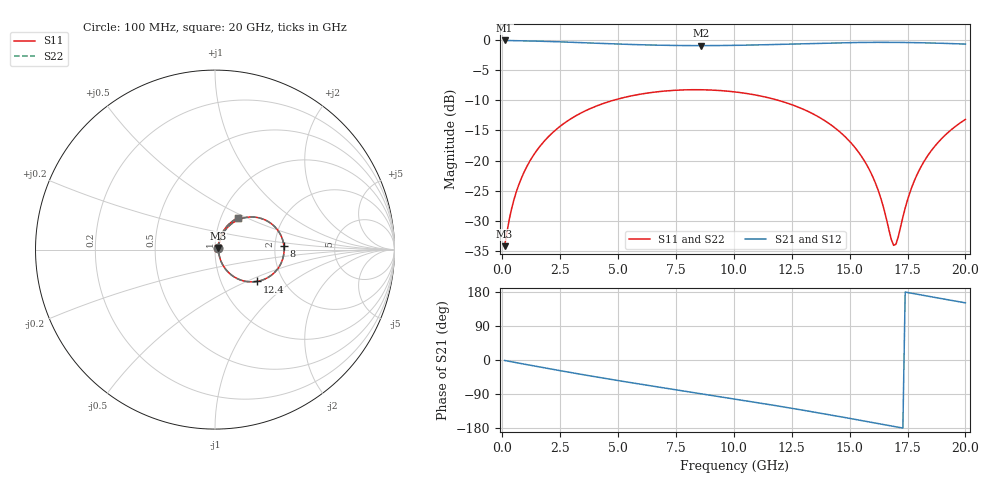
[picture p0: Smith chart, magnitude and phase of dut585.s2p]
! Touchstone file exported from HFSS 2026.1.0
!  File:  C:/ffzhzh/LocalFiles/Ansys_Project_Files/temp_train_TSV_RDL_585_1783119457_50312.aedt
!  Generated:  07:06:52 AM Jul  4, 2026
!  Design:  TSV_RDL
!  Project:  temp_train_TSV_RDL_585_1783119457_50312
! Variables:
!  h_bsmrdl = 4.17um
!  h_ox = 20um
!  h_rdl = 5um
!  h_sub = 74.42um
!  h_tmrdl = 3.69um
!  h_tsv = 74.42um
!  h_via = 3um
!  l_bsmrdl = 792.36um
!  l_sub = 3393.47um
!  l_tmrdl = 131.74um
!  m_sub = 200um
!  pitch = 32.39um
!  r_tsv = 9.26um
!  s_tmrdl = 10um
!  w_bsmrdl = 16.69um
!  w_sub = 500um
!  w_tmrdl = 13.12um
!  x_tsv_center1 = 138.3um
!  x_tsv_center2 = 947.35um
!  x_tsv_center3 = 1092.21um
!  x_tsv_center4 = 1901.26um
!  x_tsv_center5 = 2046.12um
!  x_tsv_center6 = 2855.17um
# GHz S MA R 50.000000
! Terminal data exported
! Port[1] = TM_RDL1_1_T1
! Port[2] = TM_RDL5_1_T1
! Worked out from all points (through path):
!   200 points, 100 MHz to 20 GHz, reference 50 ohm
!   highest |S21| = -0.15 dB at 100 MHz (marker M1); lowest = -1.0 dB at 8.6 GHz (marker M2)
!   group delay of S21, straight-line fit = 28.4 ps
!   lowest |S11| = -34.1 dB at 100 MHz (marker M3), VSWR 1.04, Z = 51.8 + j0.919 ohm
!   |S11| at or under -10 dB: start of sweep to 4.834 GHz; 11.88 GHz to end of sweep
!   |S22| runs from -34.1 to -8.3 dB; largest |S21 - S12| = 1.7e-14
!   S11 on the Smith chart (normalised r, x): 100 MHz: 1.04, +0.02; 8 GHz: 2.24, +0.12; 12.4 GHz: 1.48, -0.57; 20 GHz: 1.21, +0.45
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0.1  0.01962 26.9  0.9826 -1.2  0.9826 -1.2  0.01962 26.9
! Gamma 0 0 0 0
! Port Impedance 50 0 50 0
0.5  0.04725 59.2  0.9791 -5.9  0.9791 -5.9  0.04725 59.2
1.2  0.0997 63.5  0.9731 -13.8  0.9731 -13.8  0.0997 63.5
2.2  0.1719 57.2  0.9614 -24.9  0.9614 -24.9  0.1719 57.2
3.5  0.2528 45.3  0.9413 -38.9  0.9413 -38.9  0.2528 45.3
5.1  0.3264 30.1  0.9165 -55.3  0.9165 -55.3  0.3264 30.1
6.8  0.3719 14.3  0.8976 -71.9  0.8976 -71.9  0.3719 14.3
8  0.3844 3.3  0.8914 -83.4  0.8914 -83.4  0.3844 3.3
8.6  0.3847 -2.1  0.8907 -89.1  0.8907 -89.1  0.3847 -2.1
10.1  0.3681 -15.8  0.8956 -103.5  0.8956 -103.5  0.3681 -15.8
12.4  0.2942 -37.0  0.917 -126.4  0.917 -126.4  0.2942 -37.1
13.4  0.2441 -46.3  0.9283 -136.8  0.9283 -136.8  0.244 -46.3
14.6  0.1711 -56.8  0.9401 -149.7  0.9401 -149.7  0.171 -56.8
15.5  0.1092 -62.6  0.946 -159.6  0.946 -159.6  0.1092 -62.6
16.2  0.05917 -61.0  0.948 -167.3  0.948 -167.3  0.05911 -61.0
16.7  0.02669 -38.2  0.9479 -172.9  0.9479 -172.9  0.02661 -38.2
16.9  0.01994 -5.9  0.9475 -175.2  0.9475 -175.2  0.01987 -5.8
17  0.02035 14.8  0.9472 -176.3  0.9472 -176.3  0.0203 15.0
17.6  0.05422 63.0  0.9443 177.0  0.9443 177.0  0.05424 63.1
18.1  0.09008 66.3  0.9405 171.5  0.9405 171.5  0.09011 66.4
18.9  0.1468 62.8  0.9321 162.7  0.9321 162.7  0.1468 62.8
20  0.2186 53.9  0.9172 150.8  0.9172 150.8  0.2186 53.9
